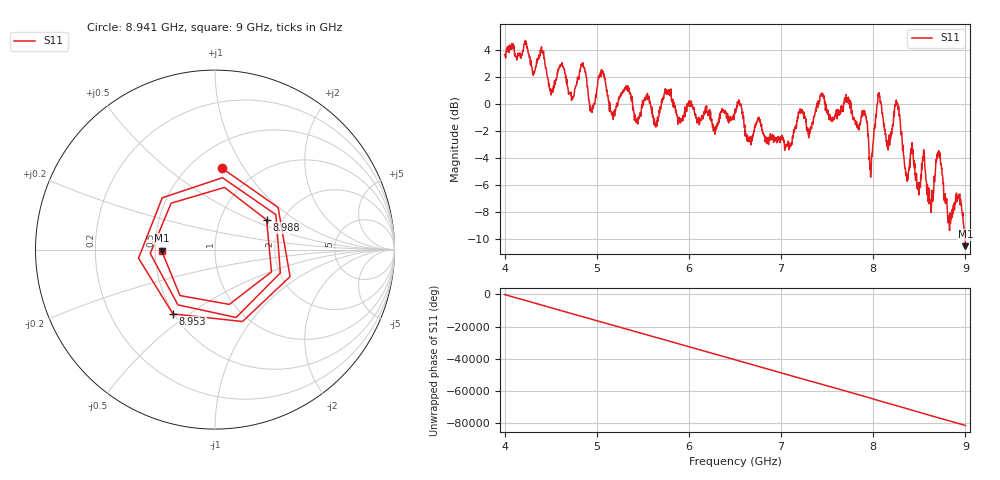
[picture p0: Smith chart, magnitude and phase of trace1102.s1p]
! Created with skrf 1.8.0 (http://scikit-rf.org).
# Hz S RI R 50.0
!freq ReS11 ImS11
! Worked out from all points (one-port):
!   1601 points, 4 GHz to 9 GHz, reference 50 ohm
!   lowest |S11| = -10.5 dB at 9 GHz (marker M1), VSWR 1.85, Z = 27 - j0.308 ohm
!   |S11| at or under -10 dB: 8.993913 GHz to 8.994305 GHz (391.7 kHz wide, 0.00436 % of centre); 8.997689 GHz to end of sweep
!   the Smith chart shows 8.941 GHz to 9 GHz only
!   S11 on the Smith chart (normalised r, x): 8.941 GHz: 0.70, +0.80; 8.953 GHz: 0.49, -0.43; 8.988 GHz: 1.66, +0.62; 9 GHz: 0.54, -0.01
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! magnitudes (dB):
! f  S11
! 4 GHz  3.6
! 4.406 GHz  3.9
! 4.512 GHz  0.9
! 4.625 GHz  3.0
! 4.731 GHz  0.4
! 4.856 GHz  2.8
! 4.944 GHz  -0.6
! 5.05 GHz  2.5
! 5.162 GHz  -0.8
! 5.25 GHz  0.5
! 5.875 GHz  -0.9
! 6.5 GHz  -0.7
! 7.125 GHz  -2.4
! 7.75 GHz  -0.3
! 7.909 GHz  -0.7
! 7.975 GHz  -4.7
! 8.059 GHz  0.5
! 8.162 GHz  -3.4
! 8.259 GHz  0.0
! 8.375 GHz  -5.3
! 8.55 GHz  -3.7
! 8.628 GHz  -8.0
! 8.706 GHz  -3.8
! 8.825 GHz  -8.9
! 8.941 GHz  -6.8
! 8.953 GHz  -7.4
! 8.988 GHz  -9.6
! 9 GHz  -10.5
